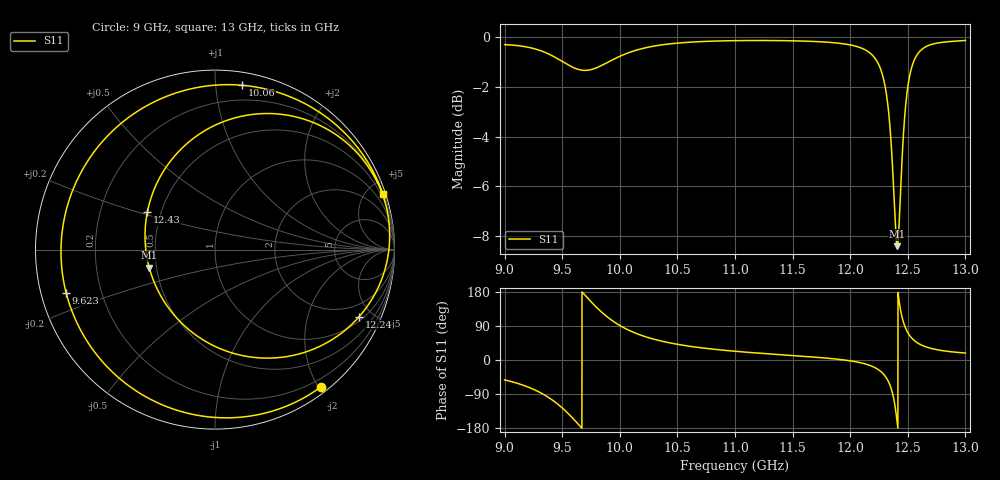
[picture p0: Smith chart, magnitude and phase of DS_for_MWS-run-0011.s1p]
! TOUCHSTONE file generated by CST DESIGN STUDIO
! Date and time: Tue Feb  4 16:29:49 2025
! Project name: C:\Work\MatlabApps\UnitCellOptimizationMatlab\CST\unitcell.cst
! Tree item: Tasks\Sweep1\SPara1\S-Parameters
! Header version: 2024
! Port assignment regex: !\s*Touchstone port\s*([0-9]+)\s*=\s*(CST MWS port|CST DES external port|CST DES block port)\s*(.+)\s* \(\"(.*)\"\)(\s*mode\s*([0-9]+))?.*
! Touchstone port assignment:
! Touchstone port 1 = CST DES external port 1 ("")
# GHz S MA R 50
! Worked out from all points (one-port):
!   4001 points, 9 GHz to 13 GHz, reference 50 ohm
!   lowest |S11| = -8.4 dB at 12.41 GHz (marker M1), VSWR 2.23, Z = 22.8 - j5.37 ohm
!   |S11| at or under -10 dB: nowhere
!   S11 on the Smith chart (normalised r, x): 9 GHz: 0.09, -2.02; 9.623 GHz: 0.07, -0.14; 10.06 GHz: 0.09, +1.18; 12.24 GHz: 1.21, -4.19; 12.43 GHz: 0.42, +0.22; 13 GHz: 0.30, +6.17
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9  0.9659 -52.5
9.17  0.9573 -67.5
9.323  0.9372 -88.2
9.418  0.9162 -106.5
9.5  0.8937 -126.4
9.623  0.8636 -163.8
9.716  0.8576 164.9
9.822  0.8725 131.9
9.905  0.8924 110.4
10  0.915 91.0
10.064  0.928 80.6
10.257  0.9554 58.2
10.5  0.9725 41.4
11  0.9837 23.1
11.5  0.983 11.8
12  0.9645 -2.2
12.152  0.9362 -12.3
12.242  0.8859 -24.9
12.303  0.7963 -42.4
12.351  0.6338 -71.0
12.379  0.484 -103.7
12.408  0.38 -164.6
12.427  0.4317 150.7
12.462  0.637 100.0
12.5  0.7942 72.3
12.561  0.9042 50.2
12.645  0.9531 36.0
13  0.9846 18.4
